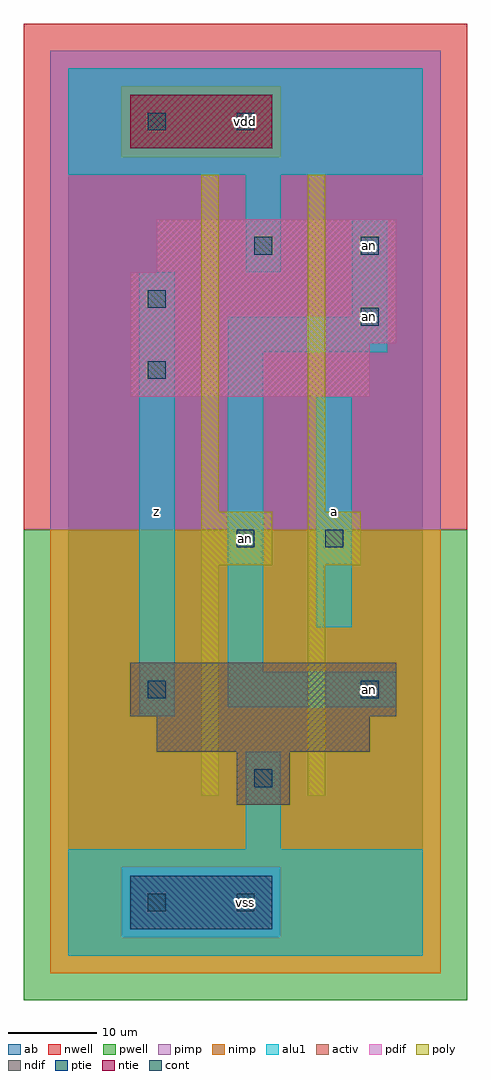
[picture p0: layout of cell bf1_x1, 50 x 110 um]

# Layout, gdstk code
import gdstk
lib = gdstk.Library(unit=1e-6, precision=1e-09)
def R(c, l, rs):  # rectangles x0, y0, x1, y1
    for r in rs: c.add(gdstk.rectangle(r[:2], r[2:], *l))
ndif = (3, 0)
pdif = (4, 0)
ntie = (5, 0)
ptie = (6, 0)
cont = (25, 0)
pwell = (41, 0)
nwell = (42, 0)
activ = (43, 0)
pimp = (44, 0)
nimp = (45, 0)
poly = (46, 0)
alu1 = (49, 0)
ab = (63, 0)

bf1_x1 = lib.new_cell('bf1_x1')
R(bf1_x1, ndif, [(19,17,25,23), (10,23,34,27), (7,27,37,33)])
R(bf1_x1, pdif, [(7,63,34,69), (7,69,37,77), (10,77,37,83)])
R(bf1_x1, ntie, [(7,91,23,97)])
R(bf1_x1, ptie, [(7,3,23,9)])
R(bf1_x1, cont, [(9,5,11,7), (19,5,21,7), (21,19,23,21), (9,29,11,31), (33,29,35,31), (19,46,21,48), (29,46,31,48), (9,65,11,67), (33,71,35,73), (9,73,11,75), (21,79,23,81), (33,79,35,81), (9,93,11,95), (19,93,21,95)])
R(bf1_x1, pwell, [(-5,-5,45,48)])
R(bf1_x1, nwell, [(-5,48,45,105)])
R(bf1_x1, activ, [(7,3,23,9), (19,17,25,23), (10,23,34,27), (7,27,37,33), (7,63,34,69), (7,69,37,77), (10,77,37,83), (7,91,23,97)])
R(bf1_x1, pimp, [(6,2,24,10), (-2,48,42,90), (-2,90,6,98), (24,90,42,98), (-2,98,42,102)])
R(bf1_x1, nimp, [(-2,-2,42,2), (-2,2,6,10), (24,2,42,10), (-2,10,42,48), (6,90,24,98)])
R(bf1_x1, poly, [(15,18,17,44), (27,18,29,44), (15,44,23,50), (27,44,33,50), (15,50,17,88), (27,50,29,88)])
R(bf1_x1, alu1, [(0,0,40,12), (20,12,24,23), (8,27,12,77), (18,28,37,32), (18,32,22,68), (28,37,32,63), (18,68,36,72), (32,72,36,83), (20,77,24,88), (0,88,40,100)])
R(bf1_x1, ab, [(0,0,40,100)])
bf1_x1.add(gdstk.Label('an', (20,47), layer=49, texttype=0))
bf1_x1.add(gdstk.Label('an', (34,30), layer=49, texttype=0))
bf1_x1.add(gdstk.Label('an', (34,80), layer=49, texttype=0))
bf1_x1.add(gdstk.Label('an', (34,72), layer=49, texttype=0))
bf1_x1.add(gdstk.Label('vss', (20,6), layer=49, texttype=0))
bf1_x1.add(gdstk.Label('z', (10,50), layer=49, texttype=0))
bf1_x1.add(gdstk.Label('vdd', (20,94), layer=49, texttype=0))
bf1_x1.add(gdstk.Label('a', (30,50), layer=49, texttype=0))

lib.write_gds('bf1_x1.gds')
